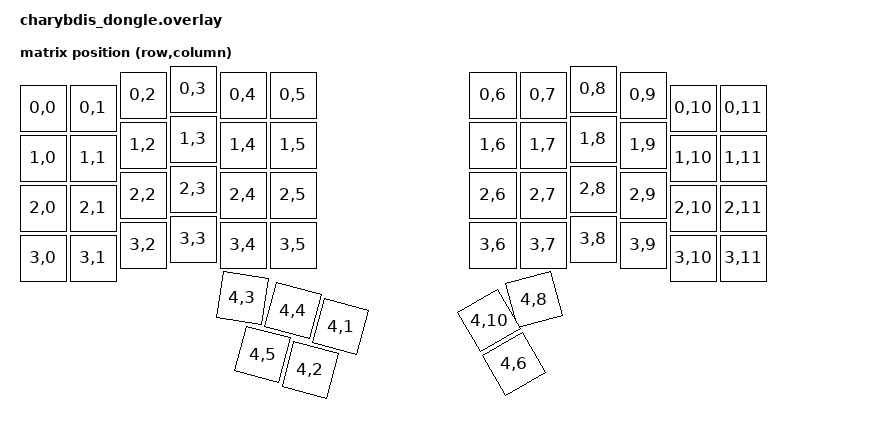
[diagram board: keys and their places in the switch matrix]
// Documentation: https://zmk.dev/docs/development/hardware-integration/dongle
#include <dt-bindings/zmk/matrix_transform.h>
#include "../../config/charybdis-layouts.dtsi"
#include <dt-bindings/led/led.h>
#include <zephyr/dt-bindings/pinctrl/nrf-pinctrl.h>

&charybdis_physical_layout {
    transform = <&default_transform>;
};

/ {
    chosen {
        zmk,kscan           = &kscan0;
        zmk,physical-layout = &charybdis_6col_layout;
        zmk,input-device    = &trackball_split;
    };

    kscan0: kscan_1 {
        compatible = "zmk,kscan-mock";
        columns    = <0>;
        rows       = <0>;
        events     = <0>;
    };

    default_transform: keymap_transform_0 {
        compatible = "zmk,matrix-transform";
        columns = <12>;
		rows = <5>;
		map = <
			RC(0,0) RC(0,1) RC(0,2) RC(0,3) RC(0,4) RC(0,5)  RC(0,6) RC(0,7) RC(0,8) RC(0,9) RC(0,10) RC(0,11)
			RC(1,0) RC(1,1) RC(1,2) RC(1,3) RC(1,4) RC(1,5)  RC(1,6) RC(1,7) RC(1,8) RC(1,9) RC(1,10) RC(1,11)
			RC(2,0) RC(2,1) RC(2,2) RC(2,3) RC(2,4) RC(2,5)  RC(2,6) RC(2,7) RC(2,8) RC(2,9) RC(2,10) RC(2,11)
			RC(3,0) RC(3,1) RC(3,2) RC(3,3) RC(3,4) RC(3,5)  RC(3,6) RC(3,7) RC(3,8) RC(3,9) RC(3,10) RC(3,11)
			        RC(4,1) RC(4,2) RC(4,3) RC(4,4) RC(4,5)  RC(4,6)         RC(4,8)         RC(4,10)
        >;
	};
	
    central: bt_central {
        compatible = "zmk,ble-central";
        peripherals = <&left_peripheral &right_peripheral>;
    };

    left_peripheral: bt_left {
        compatible = "zmk,ble-peripheral";
        local-name = "charybdis_left";
    };

    right_peripheral: bt_right {
        compatible = "zmk,ble-peripheral";
        local-name = "charybdis_right";
    };

    /* The dongle is the central - it receives trackball data over BLE from the
       right peripheral via zmk,input-split. No SPI or PMW3610 hardware here. */
    split_inputs {
        #address-cells = <1>;
        #size-cells = <0>;

        trackball_split: trackball_split@0 {
            compatible = "zmk,input-split";
            reg = <0>;
        };
    };

    trackball_listener: trackball_listener {
        compatible = "zmk,input-listener";
        status = "okay";
        device = <&trackball_split>;
    };
	charybdis_6col_layout: charybdis_6col_layout {
		compatible = "zmk,physical-layout";
		display-name = "Charybdis 4x6";
		transform = <&default_transform>;
		keys
			= <&key_physical_attrs 100 100    0   38       0     0     0>
			, <&key_physical_attrs 100 100  100   38       0     0     0>
			, <&key_physical_attrs 100 100  200   12       0     0     0>
			, <&key_physical_attrs 100 100  300    0       0     0     0>
			, <&key_physical_attrs 100 100  400   12       0     0     0>
			, <&key_physical_attrs 100 100  500   12       0     0     0>
			, <&key_physical_attrs 100 100  900   12       0     0     0>
			, <&key_physical_attrs 100 100 1000   12       0     0     0>
			, <&key_physical_attrs 100 100 1100    0       0     0     0>
			, <&key_physical_attrs 100 100 1200   12       0     0     0>
			, <&key_physical_attrs 100 100 1300   38       0     0     0>
			, <&key_physical_attrs 100 100 1400   38       0     0     0>
			, <&key_physical_attrs 100 100    0  138       0     0     0>
			, <&key_physical_attrs 100 100  100  138       0     0     0>
			, <&key_physical_attrs 100 100  200  112       0     0     0>
			, <&key_physical_attrs 100 100  300  100       0     0     0>
			, <&key_physical_attrs 100 100  400  112       0     0     0>
			, <&key_physical_attrs 100 100  500  112       0     0     0>
			, <&key_physical_attrs 100 100  900  112       0     0     0>
			, <&key_physical_attrs 100 100 1000  112       0     0     0>
			, <&key_physical_attrs 100 100 1100  100       0     0     0>
			, <&key_physical_attrs 100 100 1200  112       0     0     0>
			, <&key_physical_attrs 100 100 1300  138       0     0     0>
			, <&key_physical_attrs 100 100 1400  138       0     0     0>
			, <&key_physical_attrs 100 100    0  238       0     0     0>
			, <&key_physical_attrs 100 100  100  238       0     0     0>
			, <&key_physical_attrs 100 100  200  212       0     0     0>
			, <&key_physical_attrs 100 100  300  200       0     0     0>
			, <&key_physical_attrs 100 100  400  212       0     0     0>
			, <&key_physical_attrs 100 100  500  212       0     0     0>
			, <&key_physical_attrs 100 100  900  212       0     0     0>
			, <&key_physical_attrs 100 100 1000  212       0     0     0>
			, <&key_physical_attrs 100 100 1100  200       0     0     0>
			, <&key_physical_attrs 100 100 1200  212       0     0     0>
			, <&key_physical_attrs 100 100 1300  238       0     0     0>
			, <&key_physical_attrs 100 100 1400  238       0     0     0>
			, <&key_physical_attrs 100 100    0  338       0     0     0>
			, <&key_physical_attrs 100 100  100  338       0     0     0>
			, <&key_physical_attrs 100 100  200  312       0     0     0>
			, <&key_physical_attrs 100 100  300  300       0     0     0>
			, <&key_physical_attrs 100 100  400  312       0     0     0>
			, <&key_physical_attrs 100 100  500  312       0     0     0>
			, <&key_physical_attrs 100 100  900  312       0     0     0>
			, <&key_physical_attrs 100 100 1000  312       0     0     0>
			, <&key_physical_attrs 100 100 1100  300       0     0     0>
			, <&key_physical_attrs 100 100 1200  312       0     0     0>
			, <&key_physical_attrs 100 100 1300  338       0     0     0>
			, <&key_physical_attrs 100 100 1400  338       0     0     0>
			, <&key_physical_attrs 100 100  518  420    1500   398   790>
			, <&key_physical_attrs 100 100  482  520    1500   398   790>
			, <&key_physical_attrs 100 100  348  414    900    398   790>
			, <&key_physical_attrs 100 100  418  414    1500   398   790>
			, <&key_physical_attrs 100 100  382  514    1500   398   790>
			, <&key_physical_attrs 100 100 1052  520 (-3000)  1102   790>
			, <&key_physical_attrs 100 100 1067  414 (-1500)  1102   790>
			, <&key_physical_attrs 100 100 1052  420 (-3000)  1102   790>
			;
	};
};

/* Ambient light sensor not installed on dongle - disable I2C1 to prevent
   nRF52840 TWIM from hanging on probe (no ACK -> WDT reset loop) */
&i2c1 { status = "disabled"; };

/* charybdis_pointer.dtsi references &trackball_listener - must come after node definition */
#include "../../config/trackball/charybdis_pointer.dtsi"

&trackball_split {
    status = "okay";
};

&trackball_listener {
    status = "okay";
};

&pinctrl {
    spi3_default: spi3_default {
        group1 {
            psels = <NRF_PSEL(SPIM_MOSI, 1, 7)>;
        };
    };

    spi3_sleep: spi3_sleep {
        group1 {
            psels = <NRF_PSEL(SPIM_MOSI, 1, 7)>;
            low-power-enable;
        };
    };
};

&spi3 {
    compatible = "nordic,nrf-spim";
    status = "okay";

    pinctrl-0 = <&spi3_default>;
    pinctrl-1 = <&spi3_sleep>;
    pinctrl-names = "default", "sleep";

    led_strip: ws2812@0 {
        compatible = "worldsemi,ws2812-spi";

        /* SPI */
        reg = <0>; /* ignored, but necessary for SPI bindings */
        spi-max-frequency = <4000000>;

        /* WS2812 */
        chain-length = <29>; /* arbitrary; change at will */
        spi-one-frame = <0x70>;
        spi-zero-frame = <0x40>;

        color-mapping = <LED_COLOR_ID_GREEN LED_COLOR_ID_RED LED_COLOR_ID_BLUE>;
    };
};
/ {
    chosen {
        zmk,underglow = &led_strip;
    };
};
